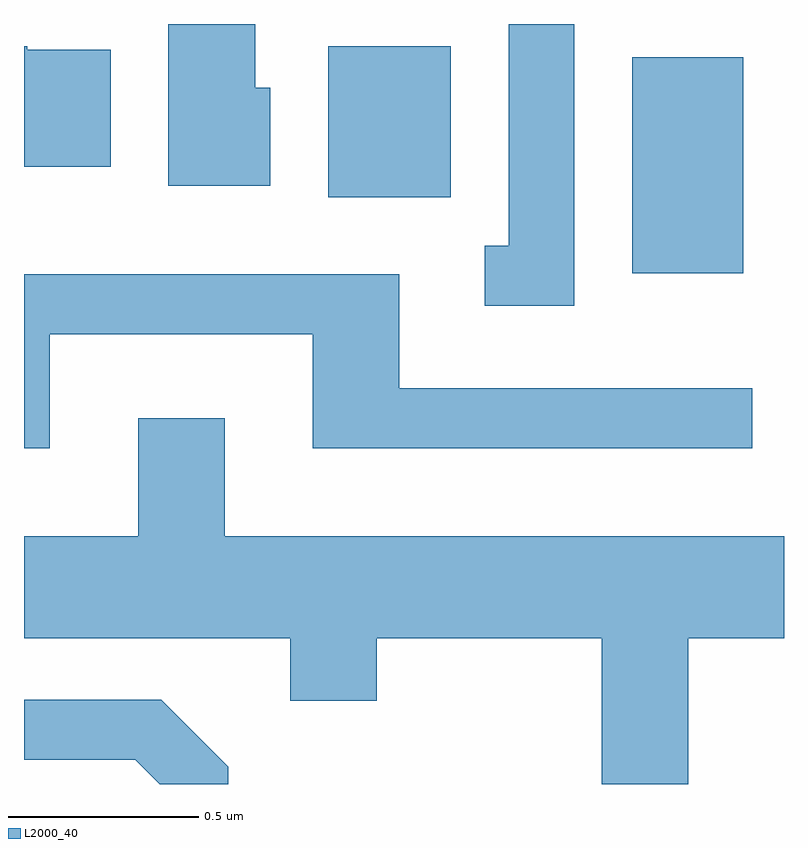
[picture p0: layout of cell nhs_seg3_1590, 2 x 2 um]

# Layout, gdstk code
import gdstk
lib = gdstk.Library(unit=1e-6, precision=1e-09)
def R(c, l, rs):  # rectangles x0, y0, x1, y1
    for r in rs: c.add(gdstk.rectangle(r[:2], r[2:], *l))
def P(c, l, *ps):  # polygons
    for p in ps: c.add(gdstk.Polygon(p, *l))
L2000_40 = (2000, 40)

nhs_seg3_1590 = lib.new_cell('nhs_seg3_1590')
R(nhs_seg3_1590, L2000_40, [(198.211,1200.236,198.504,1200.804), (197.411,1200.436,197.734,1200.834)])
P(nhs_seg3_1590, L2000_40, [(198.059,1200.892),(197.886,1200.892),(197.886,1200.309),(197.823,1200.309),(197.823,1200.151),(198.059,1200.151)],
  [(197.259,1200.724),(197.219,1200.724),(197.219,1200.892),(196.991,1200.892),(196.991,1200.466),(197.259,1200.466)],
  [(196.839,1200.824),(196.62,1200.824),(196.62,1200.834),(196.611,1200.834),(196.611,1200.516),(196.839,1200.516)],
  [(196.679,1200.076),(197.371,1200.076),(197.371,1199.776),(198.528,1199.776),(198.528,1199.934),(197.599,1199.934),(197.599,1200.234),(196.611,1200.234),(196.611,1199.776),(196.679,1199.776)],
  [(198.359,1199.276),(198.611,1199.276),(198.611,1199.544),(197.139,1199.544),(197.139,1199.854),(196.911,1199.854),(196.911,1199.544),(196.611,1199.544),(196.611,1199.276),(197.311,1199.276),(197.311,1199.111),(197.539,1199.111),(197.539,1199.276),(198.131,1199.276),(198.131,1198.892),(198.359,1198.892)],
  [(197.149,1198.937),(196.972,1199.114),(196.611,1199.114),(196.611,1198.956),(196.904,1198.956),(196.968,1198.892),(197.149,1198.892)])

lib.write_gds('nhs_seg3_1590.gds')
